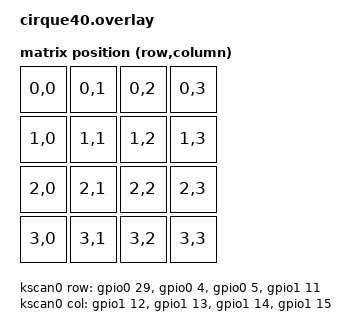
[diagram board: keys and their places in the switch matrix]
// This is a branched file to change the pinout for a Xiao BLE instead of a Xiao BLE plus

#include <dt-bindings/zmk/matrix_transform.h>
#include <dt-bindings/zmk/input_transform.h>
#include <input/processors.dtsi>
#include <dt-bindings/zmk/pointing.h>

/ {
    kscan0: kscan0 {
        compatible = "zmk,kscan-gpio-matrix";
        diode-direction = "col2row";
        wakeup-source;

        col-gpios
            = <&gpio1 12 GPIO_ACTIVE_HIGH>  // column 0 > D7
            , <&gpio1 13 GPIO_ACTIVE_HIGH>  // column 1 > D8
            , <&gpio1 14 GPIO_ACTIVE_HIGH>  // column 2 > D9
            , <&gpio1 15 GPIO_ACTIVE_HIGH>  // column 3 > D10
            ;             

        row-gpios
            = <&gpio0 29 (GPIO_ACTIVE_HIGH | GPIO_PULL_DOWN)>  //  > D3
            , <&gpio0 4  (GPIO_ACTIVE_HIGH | GPIO_PULL_DOWN)>  //  > D4
            , <&gpio0 5  (GPIO_ACTIVE_HIGH | GPIO_PULL_DOWN)>  //  > D5
            , <&gpio1 11 (GPIO_ACTIVE_HIGH | GPIO_PULL_DOWN)>  //  > D6
            ;
    };
};
    
/*
&seeeduino_xiao_ble {
    status = "okay";
};
*/

/ {
    matrix_transform0: matrix_transform0 {1
        compatible = "zmk,matrix-transform";
        columns = <4>;
        rows = <4>;
        map = <
            RC(0,0) RC(0,1) RC(0,2) RC(0,3)
            RC(1,0) RC(1,1) RC(1,2) RC(1,3)
            RC(2,0) RC(2,1) RC(2,2) RC(2,3)
            RC(3,0) RC(3,1) RC(3,2) RC(3,3)
                                    
        >;
    };
};
